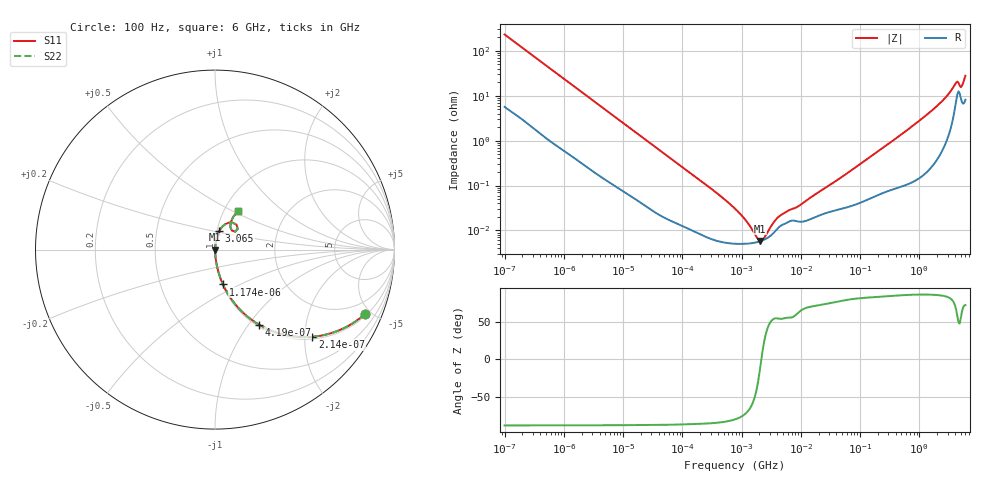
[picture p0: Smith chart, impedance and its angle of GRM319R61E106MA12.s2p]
!Murata Part Number: GRM319R61E106MA12
!These Parameters are Measured in Series Mode Connection
!Data Generated on Mar 30, 2021
!  o--ll--o
!Port1  Port2
!  o------o
!Operation Temp=25[degC], DC Bias Voltage=0[V]
!Freq. Start=100[Hz] Stop=6[GHz] 401[Steps]
# Hz S RI R 50
!Freq.(Hz) S11(Real) S11(Imag) S21(Real) S21(Imag) S12(Real) S12(Imag) S22(Real) S22(Imag)
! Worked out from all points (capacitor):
!   401 points, 100 Hz to 6 GHz, reference 50 ohm
!   read as one part in series: C = 6.87 uF near 109 Hz
!   lowest |Z| = 5.83 mohm at 2.074 MHz (marker M1)
!   series resonance near 2.157 MHz, so ESL is about 790 pH
!   S11 on the Smith chart (normalised r, x): 100 Hz: 1.11, -4.61; 214 Hz: 1.05, -2.18; 419 Hz: 1.03, -1.13; 1.174 kHz: 1.01, -0.41; 3.065 GHz: 1.02, +0.21; 6 GHz: 1.16, +0.53
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100  0.8358 -0.3585  0.1642 0.3585  0.1642 0.3585  0.8358 -0.3585
214  0.5423 -0.4858  0.4577 0.4858  0.4577 0.4858  0.5423 -0.4858
419  0.2461 -0.4188  0.7539 0.4188  0.7539 0.4188  0.2461 -0.4188
686  0.113 -0.3048  0.887 0.3048  0.887 0.3048  0.113 -0.3048
1174  0.0445 -0.194  0.9555 0.194  0.9555 0.194  0.0445 -0.194
2008  0.0172 -0.1179  0.9828 0.1179  0.9828 0.1179  0.0172 -0.1179
6433  0.00254 -0.0381  0.9975 0.0381  0.9975 0.0381  0.00254 -0.0381
40335  0.000264 -0.00631  0.9997 0.00631  0.9997 0.00631  0.000264 -0.00631
316350  6.42e-05 -0.000823  0.9999 0.000823  0.9999 0.000823  6.42e-05 -0.000823
774597  5.07e-05 -0.000302  0.9999 0.000302  0.9999 0.000302  5.07e-05 -0.000302
1516199  5.23e-05 -9e-05  0.9999 9e-05  0.9999 9e-05  5.23e-05 -9e-05
2074311  5.75e-05 -9.8e-06  0.9999 9.8e-06  0.9999 9.8e-06  5.75e-05 -9.8e-06
2837864  7.02e-05 6.98e-05  0.9999 -6.98e-05  0.9999 -6.98e-05  7.02e-05 6.98e-05
4440638  0.000123 0.000173  0.9999 -0.000173  0.9999 -0.000173  0.000123 0.000173
9090158  0.000158 0.000307  0.9998 -0.000307  0.9998 -0.000307  0.000158 0.000307
1.555665e7  0.000186 0.000542  0.9998 -0.000542  0.9998 -0.000542  0.000186 0.000542
3.124326e8  0.000846 0.00871  0.9992 -0.00871  0.9992 -0.00871  0.000846 0.00871
1.431855e9  0.00379 0.0403  0.9962 -0.0403  0.9962 -0.0403  0.00379 0.0403
3.065283e9  0.0226 0.1018  0.9774 -0.1018  0.9774 -0.1018  0.0226 0.1018
4.193612e9  0.0973 0.1505  0.9027 -0.1505  0.9027 -0.1505  0.0973 0.1505
5.245841e9  0.085 0.1268  0.915 -0.1268  0.915 -0.1268  0.085 0.1268
6e9  0.1278 0.214  0.8722 -0.214  0.8722 -0.214  0.1278 0.214
